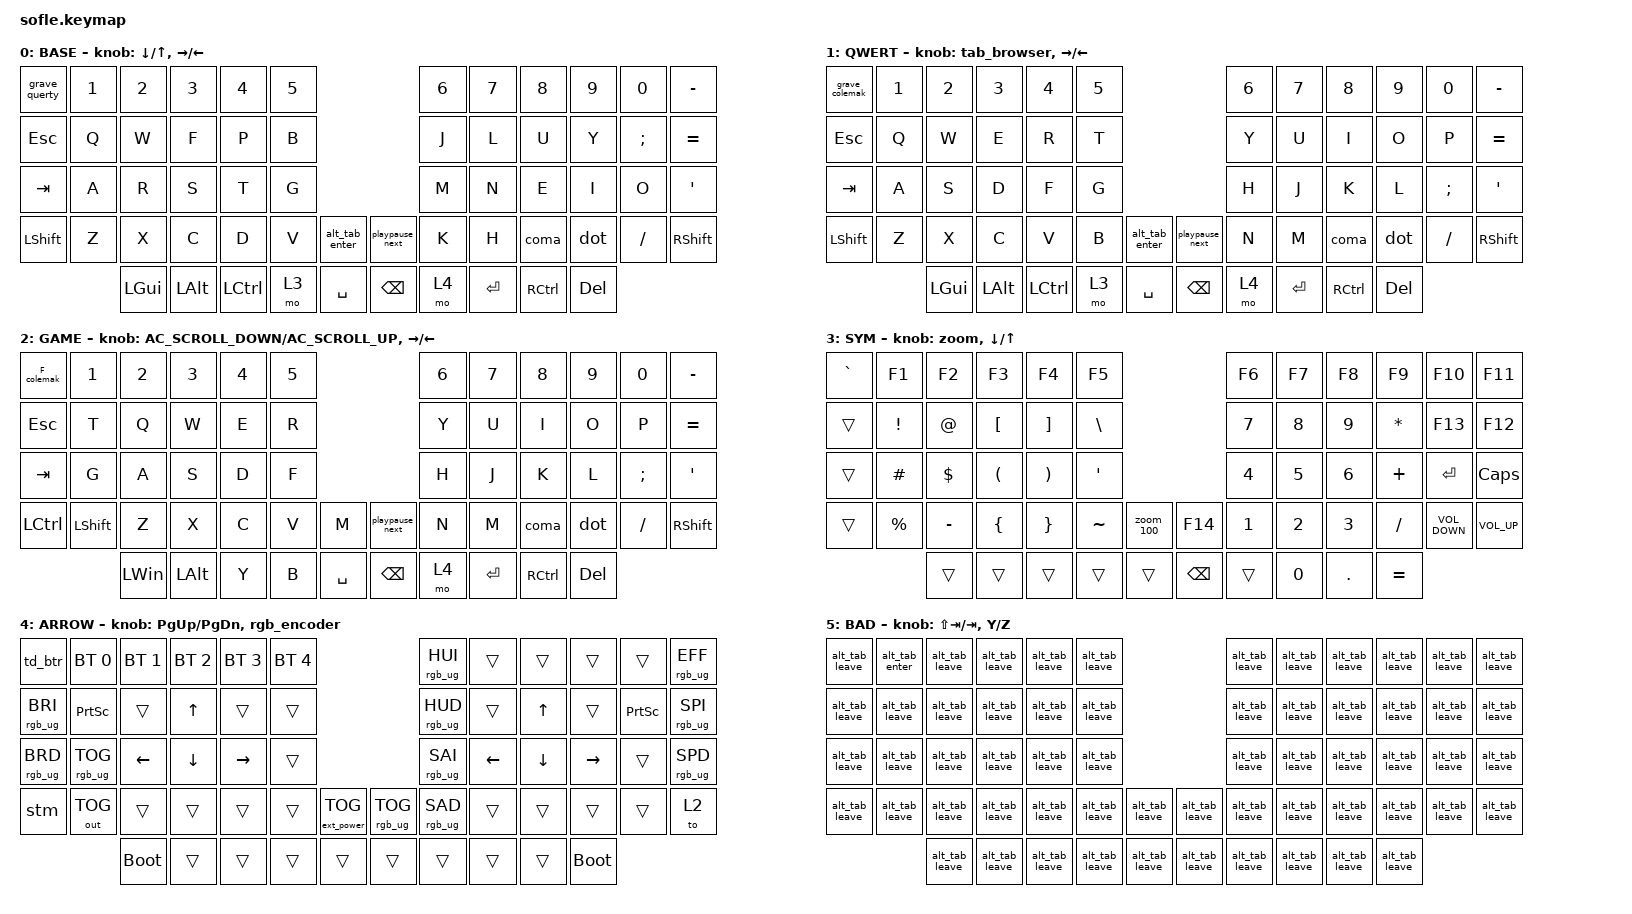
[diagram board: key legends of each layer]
/*
 * Copyright (c) 2020 The ZMK Contributors
 *
 * SPDX-License-Identifier: MIT
 */

#include <behaviors.dtsi>
#include <dt-bindings/zmk/bt.h>
#include <dt-bindings/zmk/ext_power.h>
#include <dt-bindings/zmk/keys.h>
#include <dt-bindings/zmk/outputs.h>
#include <dt-bindings/zmk/rgb.h>

//Encoder Support
//Alps Alpine EC11N1524402: 30 Detent, 15PPR, 2 Channel, Quadrature, 15000 Cycle

/ {
    left_encoder: encoder_left {
        compatible = "alps,ec11";
        label = "LEFT_ENCODER";
        a-gpios = <&pro_micro 21 (GPIO_ACTIVE_HIGH | GPIO_PULL_UP)>;
        b-gpios = <&pro_micro 20 (GPIO_ACTIVE_HIGH | GPIO_PULL_UP)>;
        steps = <80>;
    };

    right_encoder: encoder_right {
        compatible = "alps,ec11";
        label = "RIGHT_ENCODER";
        a-gpios = <&pro_micro 21 (GPIO_ACTIVE_HIGH | GPIO_PULL_UP)>;
        b-gpios = <&pro_micro 20 (GPIO_ACTIVE_HIGH | GPIO_PULL_UP)>;
        steps = <80>;
    };

    sensors {
        compatible = "zmk,keymap-sensors";
        sensors = <&left_encoder &right_encoder>;
        triggers-per-rotation = <20>;
    };
};

/ {
    macros {
        // System and Power

        taskmanger: tm {
            label = "TASK_MANAGER";
            compatible = "zmk,behavior-macro";
            #binding-cells = <0>;
            bindings =
                <&macro_press>,
                <&kp LEFT_CONTROL &kp LEFT_SHIFT>,
                <&macro_tap>,
                <&kp ESC>,
                <&macro_release>,
                <&kp LCTRL &kp LSHFT>;
        };

        off: off {
            label = "SHUTDOWN";
            compatible = "zmk,behavior-macro";
            #binding-cells = <0>;
            bindings =
                <&macro_press>,
                <&kp LGUI>,
                <&macro_tap>,
                <&kp X>,
                <&macro_release>,
                <&kp LGUI>,
                <&macro_tap>,
                <&kp U &kp U>;
        };

        // Microphones
        // Browser Controls

        tab_right: tab_right {
            label = "TAB_RIGHT";
            compatible = "zmk,behavior-macro";
            #binding-cells = <0>;
            wait-ms = <0>;
            tap-ms = <0>;
            bindings =
                <&macro_press>,
                <&kp LEFT_CONTROL>,
                <&macro_tap>,
                <&kp TAB>,
                <&macro_release>,
                <&kp LEFT_CONTROL>;
        };

        tab_left: tab_left {
            label = "TAB_LEFT";
            compatible = "zmk,behavior-macro";
            #binding-cells = <0>;
            wait-ms = <0>;
            tap-ms = <0>;
            bindings =
                <&macro_press>,
                <&kp LEFT_CONTROL &kp LEFT_SHIFT>,
                <&macro_tap>,
                <&kp TAB>,
                <&macro_release>,
                <&kp LEFT_CONTROL &kp LEFT_SHIFT>;
        };

        close_tab: close_tab {
            label = "CLOSE_TAB";
            compatible = "zmk,behavior-macro";
            #binding-cells = <0>;
            wait-ms = <0>;
            tap-ms = <0>;
            bindings =
                <&macro_press>,
                <&kp LCTRL>,
                <&macro_tap>,
                <&kp W>,
                <&macro_release>,
                <&kp LCTRL>;
        };

        //Unicode Special Characters
        //Need regkey HKEY_CURRENT_USER\Control Panel\Input Method, REG_SZ EnableHexNumpad = 1
        //Symbols       

        euro: euro {
            label = "EURO";
            compatible = "zmk,behavior-macro";
            #binding-cells = <0>;
            tap-ms = <0>;
            wait-ms = <0>;
            bindings =
                <&macro_press>,
                <&kp LALT>,
                <&macro_tap>,
                <&kp KP_PLUS &kp KP_N2 &kp KP_N0 &kp A &kp C>,
                <&macro_release>,
                <&kp LALT>;
        };

        us_cent: us_cent {
            label = "US_CENT";
            compatible = "zmk,behavior-macro";
            #binding-cells = <0>;
            tap-ms = <0>;
            wait-ms = <0>;
            bindings =
                <&macro_press>,
                <&kp LALT>,
                <&macro_tap>,
                <&kp KP_PLUS &kp KP_N0 &kp KP_N0 &kp A &kp KP_N2>,
                <&macro_release>,
                <&kp LALT>;
        };

        uk_pnd: uk_pnd {
            label = "UK_POUND";
            compatible = "zmk,behavior-macro";
            #binding-cells = <0>;
            tap-ms = <0>;
            wait-ms = <0>;
            bindings =
                <&macro_press>,
                <&kp LALT>,
                <&macro_tap>,
                <&kp KP_PLUS &kp KP_N0 &kp KP_N0 &kp A &kp KP_N3>,
                <&macro_release>,
                <&kp LALT>;
        };

        degree: degree {
            label = "DEGREE_SIGN";
            compatible = "zmk,behavior-macro";
            #binding-cells = <0>;
            tap-ms = <0>;
            wait-ms = <0>;
            bindings =
                <&macro_press>,
                <&kt LALT>,
                <&macro_tap>,
                <&kp KP_PLUS &kp KP_N0 &kp KP_N0 &kp B &kp KP_N0>,
                <&macro_release>,
                <&kp LALT>;
        };

        //IPA
        //Diacritical Characters
        // Fractions
        // Operators

        zoom_in: zoom_in {
            compatible = "zmk,behavior-macro";
            #binding-cells = <0>;
            bindings =
                <&macro_press>,
                <&kp LEFT_CONTROL>,
                <&macro_tap>,
                <&kp EQUAL>,
                <&macro_release>,
                <&kp LEFT_CONTROL>;

            label = "ZOOM_IN";
        };

        zoom_out: zoom_out {
            compatible = "zmk,behavior-macro";
            #binding-cells = <0>;
            bindings =
                <&macro_press>,
                <&kp LEFT_CONTROL>,
                <&macro_tap>,
                <&kp MINUS>,
                <&macro_release>,
                <&kp LEFT_CONTROL>;

            label = "ZOOM_OUT";
        };

        zoom_100: zoom_100 {
            compatible = "zmk,behavior-macro";
            #binding-cells = <0>;
            bindings =
                <&macro_press>,
                <&kp LEFT_CONTROL>,
                <&macro_tap>,
                <&kp NUMBER_0>,
                <&macro_release>,
                <&kp LEFT_CONTROL>;

            label = "ZOOM_100";
        };

        alt_tab_enter: alttab {
            compatible = "zmk,behavior-macro";
            #binding-cells = <0>;
            bindings = <&macro_press>, <&kp LALT>, <&macro_tap>, <&to 5>;

            label = "ALTTAB";
        };

        alt_tab_leave: alt_tab_leave {
            compatible = "zmk,behavior-macro";
            #binding-cells = <0>;
            bindings = <&macro_release>, <&kp LALT>, <&macro_tap>, <&to 0>;

            label = "ALT_TAB_LEAVE";
        };
    };
};

//Combos, note that key listing is zero indexed
//lshift: 36
//rshift: 49

/ {
    combos {
        compatible = "zmk,combos";

        // Characters
        // Fractions
        // Operators
    };
};

// Mod Morphs, Encoder, Tap-Dances

/ {
    behaviors {
        // Mod Morph
        // RGB

        rgb_bri_sat_inc: rgb_bri_sat_inc {
            compatible = "zmk,behavior-mod-morph";
            label = "RGB_BRIGHTNESS_SATURATION_INCREASE";
            #binding-cells = <0>;
            bindings = <&rgb_ug RGB_SAI>, <&rgb_ug RGB_BRI>;

            mods = <(MOD_LALT|MOD_RALT)>;
        };

        rgb_bri_sat_dec: rgb_bri_sat_dec {
            compatible = "zmk,behavior-mod-morph";
            label = "RGB_BRIGHTNESS_SATURATION_DECREASE";
            #binding-cells = <0>;
            bindings = <&rgb_ug RGB_SAD>, <&rgb_ug RGB_BRD>;

            mods = <(MOD_LALT|MOD_RALT)>;
        };

        rgb_inc: rgb_inc {
            compatible = "zmk,behavior-mod-morph";
            label = "RGB_INCREASE";
            #binding-cells = <0>;
            bindings = <&rgb_ug RGB_HUI>, <&rgb_bri_sat_inc>;

            mods = <(MOD_LSFT|MOD_RSFT|MOD_LCTL|MOD_RCTL)>;
        };

        rgb_dec: rgb_dec {
            compatible = "zmk,behavior-mod-morph";
            label = "RGB_DECREASE";
            #binding-cells = <0>;
            bindings = <&rgb_ug RGB_HUD>, <&rgb_bri_sat_dec>;

            mods = <(MOD_LSFT|MOD_RSFT)>;
        };

        // System Functions  

        ret_menu: ret_menu {
            compatible = "zmk,behavior-mod-morph";
            label = "RETURN_MENU";
            #binding-cells = <0>;
            bindings = <&kp RET>, <&kp K_APPLICATION>;

            mods = <(MOD_LSFT|MOD_RSFT)>;
        };

        // Special Characters - Capitalizations
        // Special Characters - Other
        // Encoder

        rgb_encoder: rgb_encoder {
            compatible = "zmk,behavior-sensor-rotate";
            label = "RGB_ENCODER";
            #sensor-binding-cells = <0>;
            bindings = <&rgb_inc>, <&rgb_dec>;
        };

        tab_browser: tab_browser {
            compatible = "zmk,behavior-sensor-rotate";
            label = "TAB_BROWSER";
            #sensor-binding-cells = <0>;
            bindings = <&tab_left>, <&tab_right>;

            tap-ms = <100>;
        };

        // Tap Dance

        cc: cc {
            compatible = "zmk,behavior-tap-dance";
            label = "COLOR_CYCLE";
            #binding-cells = <0>;
            tapping-term-ms = <500>;
            bindings =
                <&rgb_ug RGB_COLOR_HSB(0,100,20)>,
                <&rgb_ug RGB_COLOR_HSB(10,100,20)>,
                <&rgb_ug RGB_COLOR_HSB(35,100,20)>,
                <&rgb_ug RGB_COLOR_HSB(120,100,20)>,
                <&rgb_ug RGB_COLOR_HSB(240,100,20)>,
                <&rgb_ug RGB_COLOR_HSB(285,100,20)>;
        };

        clcw: clcw {
            compatible = "zmk,behavior-tap-dance";
            label = "CAPS_LOCK_CAPS_WORD";
            #binding-cells = <0>;
            tapping-term-ms = <200>;
            bindings = <&kp CLCK>, <&caps_word>;
        };

        lscw: lscw {
            compatible = "zmk,behavior-tap-dance";
            label = "LEFT_SHIFT_CAPS_WORD";
            #binding-cells = <0>;
            tapping-term-ms = <200>;
            bindings = <&kp LSHFT>, <&caps_word>;
        };

        rscw: rscw {
            compatible = "zmk,behavior-tap-dance";
            label = "RIGHT_SHIFT_CAPS_WORD";
            #binding-cells = <0>;
            tapping-term-ms = <200>;
            bindings = <&kp RSHFT>, <&caps_word>;
        };

        stm: stm {
            compatible = "zmk,behavior-tap-dance";
            label = "SHIFT_TASK_MANAGER";
            #binding-cells = <0>;
            tapping-term-ms = <200>;
            bindings = <&kp LSHFT>, <&taskmanger>;
        };

        td_btr: td_btr {
            compatible = "zmk,behavior-tap-dance";
            label = "TAP_DANCE_BLUE_TOOTH_RELEASE";
            #binding-cells = <0>;
            tapping-term-ms = <200>;
            bindings = <&kp ESC>, <&bt BT_CLR>;
        };

        playpause_next: playpause_next {
            compatible = "zmk,behavior-tap-dance";
            label = "PLAYPAUSE_NEXT";
            #binding-cells = <0>;
            bindings = <&kp C_PP>, <&kp C_NEXT>, <&kp C_PREV>;

            tapping-term-ms = <400>;
        };

        coma: coma {
            compatible = "zmk,behavior-mod-morph";
            label = "COMA";
            bindings = <&kp COMMA>, <&kp LEFT_PARENTHESIS>;

            #binding-cells = <0>;
            mods = <(MOD_LCTL)>;
        };

        dot: dot {
            compatible = "zmk,behavior-mod-morph";
            label = "DOT";
            bindings = <&kp DOT>, <&kp RIGHT_PARENTHESIS>;

            #binding-cells = <0>;
            mods = <(MOD_LCTL)>;
        };

        zoom: zoom {
            compatible = "zmk,behavior-sensor-rotate";
            label = "ZOOM";
            #sensor-binding-cells = <0>;
            bindings = <&zoom_out>, <&zoom_in>;

            tap-ms = <100>;
        };

        left_right: left_right {
            compatible = "zmk,behavior-sensor-rotate";
            label = "LEFT_RIGHT";
            #sensor-binding-cells = <0>;
            bindings = <&kp RIGHT>, <&kp LEFT>;

            tap-ms = <50>;
        };

        grave_querty: grave_querty {
            compatible = "zmk,behavior-tap-dance";
            label = "GRAVE_QUERTY";
            #binding-cells = <0>;
            bindings = <&kp GRAVE>, <&to 2>, <&to 1>;

            tapping-term-ms = <250>;
        };

        grave_colemak: grave_colemak {
            compatible = "zmk,behavior-tap-dance";
            label = "GRAVE_COLEMAK";
            #binding-cells = <0>;
            bindings = <&kp GRAVE>, <&to 0>, <&to 2>;

            tapping-term-ms = <250>;
        };

        F_colemak: F_colemak {
            compatible = "zmk,behavior-tap-dance";
            label = "F_COLEMAK";
            #binding-cells = <0>;
            bindings = <&sl 3>, <&to 0>;

            tapping-term-ms = <200>;
        };
    };

    keymap {
        compatible = "zmk,keymap";

        colemak {
            display-name = "BASE";
            bindings = <
&grave_querty  &kp N1  &kp N2    &kp N3    &kp N4     &kp N5                                     &kp N6  &kp N7     &kp N8     &kp N9      &kp N0    &kp MINUS
&kp ESC        &kp Q   &kp W     &kp F     &kp P      &kp B                                      &kp J   &kp L      &kp U      &kp Y       &kp SEMI  &kp EQUAL
&kp TAB        &kp A   &kp R     &kp S     &kp T      &kp G                                      &kp M   &kp N      &kp E      &kp I       &kp O     &kp SQT
&kp LSHFT      &kp Z   &kp X     &kp C     &kp D      &kp V   &alt_tab_enter    &playpause_next  &kp K   &kp H      &coma      &dot        &kp FSLH  &kp RIGHT_SHIFT
                       &kp LGUI  &kp LALT  &kp LCTRL  &mo 3   &kp SPACE         &kp BACKSPACE    &mo 4   &kp ENTER  &kp RCTRL  &kp DELETE
            >;

            sensor-bindings =
                <&inc_dec_kp DOWN_ARROW UP_ARROW>,
                <&inc_dec_kp RIGHT LEFT>;
        };

        qwerty {
            display-name = "QWERT";

            // ------------------------------------------------------------------------------------------------------------
            // |  ESC  |  1  |  2  |  3   |  4   |  5   |                    |  6   |  7    |  8    |  9   |   0   | DEL   |
            // |  TAB  |  Q  |  W  |  E   |  R   |  T   |                    |  Y   |  U    |  I    |  O   |   P   | BKSPC |
            // | CAPS  |  A  |  S  |  D   |  F   |  G   |                    |  H   |  J    |  K    |  L   |   ;   |   '   |
            // | SHIFT |  Z  |  X  |  C   |  V   |  B   |MUTE SPK|  |ClS  TAB|  N   |  M    |  ,    |  .   |   /   | SHIFT |
            //               | GUI | ALT  | CTRL | LOWER|  ENTER |  | SPACE  | RAISE| CTRL  | ALT   | GUI  |

            bindings = <
&grave_colemak  &kp N1  &kp N2    &kp N3    &kp N4     &kp N5                                     &kp N6  &kp N7     &kp N8     &kp N9      &kp N0    &kp MINUS
&kp ESC         &kp Q   &kp W     &kp E     &kp R      &kp T                                      &kp Y   &kp U      &kp I      &kp O       &kp P     &kp EQUAL
&kp TAB         &kp A   &kp S     &kp D     &kp F      &kp G                                      &kp H   &kp J      &kp K      &kp L       &kp SEMI  &kp SQT
&kp LSHFT       &kp Z   &kp X     &kp C     &kp V      &kp B   &alt_tab_enter    &playpause_next  &kp N   &kp M      &coma      &dot        &kp FSLH  &kp RIGHT_SHIFT
                        &kp LGUI  &kp LALT  &kp LCTRL  &mo 3   &kp SPACE         &kp BACKSPACE    &mo 4   &kp ENTER  &kp RCTRL  &kp DELETE
            >;

            sensor-bindings = <&tab_browser>, <&inc_dec_kp RIGHT LEFT>;
        };

        gaming {
            display-name = "GAME";
            bindings = <
&F_colemak  &kp N1     &kp N2        &kp N3    &kp N4  &kp N5                                &kp N6  &kp N7     &kp N8     &kp N9   &kp N0    &kp MINUS
&kp ESC     &kp T      &kp Q         &kp W     &kp E   &kp R                                 &kp Y   &kp U      &kp I      &kp O    &kp P     &kp EQUAL
&kp TAB     &kp G      &kp A         &kp S     &kp D   &kp F                                 &kp H   &kp J      &kp K      &kp L    &kp SEMI  &kp SQT
&kp LCTRL   &kp LSHFT  &kp Z         &kp X     &kp C   &kp V   &kp M        &playpause_next  &kp N   &kp M      &coma      &dot     &kp FSLH  &kp RIGHT_SHIFT
                       &kp LEFT_WIN  &kp LALT  &kp Y   &kp B   &kp SPACE    &kp BACKSPACE    &mo 4   &kp ENTER  &kp RCTRL  &kp DEL
            >;

            sensor-bindings =
                <&inc_dec_kp C_AC_SCROLL_DOWN C_AC_SCROLL_UP>,
                <&inc_dec_kp RIGHT LEFT>;
        };

        lower_layer {
            display-name = "SYM";

            // TODO: Some binds are waiting for shifted keycode support.
            // ------------------------------------------------------------------------------------------------------------
            // |    F1 |  F2 |  F3 |  F4  |  F5  |  F6  |                   |  F7  |  F8   |  F9   |  F10 |  F11  |  F12  |
            // |       |  `  |  ~  |  <   |  >   |  ?   |                   |  *   |  {    |  }    | HOME |  END  |       |
            // |       |  !  |  @  |  #   |  $   |  %   |                   |  _   |  (    |  )    |  ;   |   |   | COLOR |
            // |       |  =  |  -  |  +   |  &   |  |   |  RGB   |  |       |  ^   |  [    |  ]    |  :   |   \   | POWER |
            //               |     |      |      |      |  CODE  |  |       |      |       |       |      |

            bindings = <
&kp GRAVE  &kp F1       &kp F2      &kp F3                &kp F4                 &kp F5                                     &kp F6  &kp F7  &kp F8   &kp F9        &kp F10            &kp F11
&trans     &kp EXCL     &kp AT      &kp LBKT              &kp RBKT               &kp BACKSLASH                              &kp N7  &kp N8  &kp N9   &kp ASTERISK  &kp F13            &kp F12
&trans     &kp HASH     &kp DOLLAR  &kp LEFT_PARENTHESIS  &kp RIGHT_PARENTHESIS  &kp SQT                                    &kp N4  &kp N5  &kp N6   &kp PLUS      &kp ENTER          &kp CAPSLOCK
&trans     &kp PERCENT  &kp MINUS   &kp LEFT_BRACE        &kp RIGHT_BRACE        &kp TILDE      &zoom_100    &kp F14        &kp N1  &kp N2  &kp N3   &kp SLASH     &kp C_VOLUME_DOWN  &kp C_VOLUME_UP
                        &trans      &trans                &trans                 &trans         &trans       &kp BACKSPACE  &trans  &kp N0  &kp DOT  &kp EQUAL
            >;

            sensor-bindings = <&zoom>, <&inc_dec_kp DOWN_ARROW UP_ARROW>;
        };

        raise_layer {
            display-name = "ARROW";

            // ------------------------------------------------------------------------------------------------------------
            // |BTCLR| BT1  | BT2  |  BT3  |  BT4  |  BT5 |                | HUE+ |  =  |   /   |   *  |   -   | EFF+ |
            // |BRI+ | PSCR | INS  |   ↑   |   @   |   %  |                | HUE- |  7  |   8   |   9  |   +   | BKSP |
            // |BRI- | RGB  |  ←   |   ↓   |   →   |   $  |                | SAT+ |  4  |   5   |   6  |   +   | SPD+ |
            // |TASK |BT/USB|      |  PREV |  NEXT |   #  |PL/PS |  |      | SAT- |  1  |   2   |   3  | ENTER | SPD- |
            //              |      |       |       |      |      |  |      |  0   |  0  |   0   |   .  |

            bindings = <
&td_btr          &bt BT_SEL 0     &bt BT_SEL 1  &bt BT_SEL 2  &bt BT_SEL 3  &bt BT_SEL 4                                        &rgb_ug RGB_HUI  &trans    &trans          &trans       &trans           &rgb_ug RGB_EFF
&rgb_ug RGB_BRI  &kp PSCRN        &trans        &kp UP        &trans        &trans                                              &rgb_ug RGB_HUD  &trans    &kp UP_ARROW    &trans       &kp PRINTSCREEN  &rgb_ug RGB_SPI
&rgb_ug RGB_BRD  &rgb_ug RGB_TOG  &kp LEFT      &kp DOWN      &kp RIGHT     &trans                                              &rgb_ug RGB_SAI  &kp LEFT  &kp DOWN_ARROW  &kp RIGHT    &trans           &rgb_ug RGB_SPD
&stm             &out OUT_TOG     &trans        &trans        &trans        &trans        &ext_power EP_TOG    &rgb_ug RGB_TOG  &rgb_ug RGB_SAD  &trans    &trans          &trans       &trans           &to 2
                                  &bootloader   &trans        &trans        &trans        &trans               &trans           &trans           &trans    &trans          &bootloader
            >;

            sensor-bindings = <&inc_dec_kp PG_UP PG_DN>, <&rgb_encoder>;
        };

        alt-tab {
            display-name = "BAD";
            bindings = <
&alt_tab_leave  &alt_tab_enter  &alt_tab_leave  &alt_tab_leave  &alt_tab_leave  &alt_tab_leave                                    &alt_tab_leave  &alt_tab_leave  &alt_tab_leave  &alt_tab_leave  &alt_tab_leave  &alt_tab_leave
&alt_tab_leave  &alt_tab_leave  &alt_tab_leave  &alt_tab_leave  &alt_tab_leave  &alt_tab_leave                                    &alt_tab_leave  &alt_tab_leave  &alt_tab_leave  &alt_tab_leave  &alt_tab_leave  &alt_tab_leave
&alt_tab_leave  &alt_tab_leave  &alt_tab_leave  &alt_tab_leave  &alt_tab_leave  &alt_tab_leave                                    &alt_tab_leave  &alt_tab_leave  &alt_tab_leave  &alt_tab_leave  &alt_tab_leave  &alt_tab_leave
&alt_tab_leave  &alt_tab_leave  &alt_tab_leave  &alt_tab_leave  &alt_tab_leave  &alt_tab_leave  &alt_tab_leave    &alt_tab_leave  &alt_tab_leave  &alt_tab_leave  &alt_tab_leave  &alt_tab_leave  &alt_tab_leave  &alt_tab_leave
                                &alt_tab_leave  &alt_tab_leave  &alt_tab_leave  &alt_tab_leave  &alt_tab_leave    &alt_tab_leave  &alt_tab_leave  &alt_tab_leave  &alt_tab_leave  &alt_tab_leave
            >;

            sensor-bindings = <&inc_dec_kp LS(TAB) TAB>, <&inc_dec_kp Y Z>;
        };
    };
};
